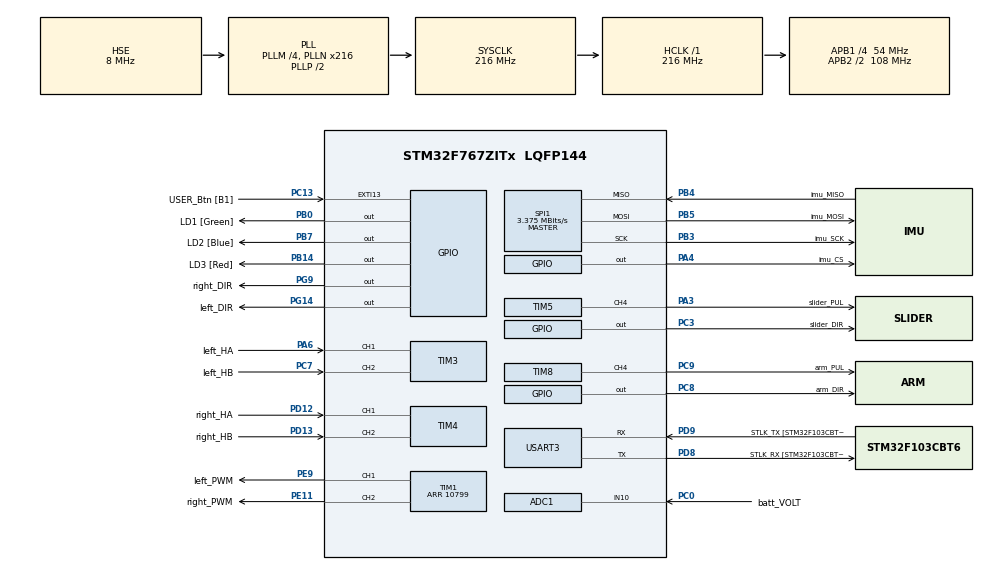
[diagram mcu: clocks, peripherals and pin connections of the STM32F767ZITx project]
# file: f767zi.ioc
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ADC1.Channel-0\#ChannelRegularConversion=ADC_CHANNEL_10
ADC1.ClockPrescaler=ADC_CLOCK_SYNC_PCLK_DIV8
ADC1.ContinuousConvMode=DISABLE
ADC1.NbrOfConversion=1
ADC1.NbrOfConversionFlag=1
ADC1.Rank-0\#ChannelRegularConversion=1
ADC1.SamplingTime-0\#ChannelRegularConversion=ADC_SAMPLETIME_480CYCLES
ADC1.master=1
IWDG.Prescaler=IWDG_PRESCALER_64
IWDG.Reload=999
Mcu.Family=STM32F7
Mcu.Name=STM32F767ZITx
Mcu.Package=LQFP144
NVIC.PriorityGroup=NVIC_PRIORITYGROUP_4
NVIC.TIM5_IRQn=true\:0\:0\:false\:false\:true\:true\:true\:true
NVIC.TIM8_UP_TIM13_IRQn=true\:0\:0\:false\:false\:true\:true\:true\:true
NVIC.USART3_IRQn=true\:0\:0\:false\:false\:true\:true\:true\:true
PA13.GPIO_Label=TMS
PA13.Mode=Serial_Wire
PA13.Signal=SYS_JTMS-SWDIO
PA14.GPIO_Label=TCK
PA14.Mode=Serial_Wire
PA14.Signal=SYS_JTCK-SWCLK
PA3.GPIO_Label=slider_PUL
PA3.GPIO_Speed=GPIO_SPEED_FREQ_VERY_HIGH
PA3.Signal=S_TIM5_CH4
PA4.GPIO_Label=imu_CS
PA4.GPIO_Speed=GPIO_SPEED_FREQ_HIGH
PA4.PinState=GPIO_PIN_SET
PA4.Signal=GPIO_Output
PA6.GPIO_Label=left_HA
PA6.GPIO_Speed=GPIO_SPEED_FREQ_LOW
PA6.Signal=S_TIM3_CH1
PB0.GPIO_Label=LD1 [Green]
PB0.Signal=GPIO_Output
PB14.GPIO_Label=LD3 [Red]
PB14.Signal=GPIO_Output
PB3.GPIO_Label=imu_SCK
PB3.Mode=Full_Duplex_Master
PB3.Signal=SPI1_SCK
PB4.GPIO_Label=imu_MISO
PB4.Mode=Full_Duplex_Master
PB4.Signal=SPI1_MISO
PB5.GPIO_Label=imu_MOSI
PB5.Mode=Full_Duplex_Master
PB5.Signal=SPI1_MOSI
PB7.GPIO_Label=LD2 [Blue]
PB7.Signal=GPIO_Output
PC0.GPIO_Label=batt_VOLT
PC0.Signal=ADCx_IN10
PC13.GPIO_Label=USER_Btn [B1]
PC13.Signal=GPXTI13
PC3.GPIO_Label=slider_DIR
PC3.Signal=GPIO_Output
PC7.GPIO_Label=left_HB
PC7.GPIO_Speed=GPIO_SPEED_FREQ_LOW
PC7.Signal=S_TIM3_CH2
PC8.GPIO_Label=arm_DIR
PC8.Signal=GPIO_Output
PC9.GPIO_Label=arm_PUL
PC9.GPIO_Speed=GPIO_SPEED_FREQ_VERY_HIGH
PC9.Signal=S_TIM8_CH4
PD12.GPIO_Label=right_HA
PD12.GPIO_Speed=GPIO_SPEED_FREQ_LOW
PD12.Signal=S_TIM4_CH1
PD13.GPIO_Label=right_HB
PD13.GPIO_Speed=GPIO_SPEED_FREQ_LOW
PD13.Signal=S_TIM4_CH2
PD8.GPIO_Label=STLK_RX [STM32F103CBT6_PA3]
PD8.Mode=Asynchronous
PD8.Signal=USART3_TX
PD9.GPIO_Label=STLK_TX [STM32F103CBT6_PA2]
PD9.Mode=Asynchronous
PD9.Signal=USART3_RX
PE11.GPIO_Label=right_PWM
PE11.GPIO_Speed=GPIO_SPEED_FREQ_VERY_HIGH
PE11.Signal=S_TIM1_CH2
PE9.GPIO_Label=left_PWM
PE9.GPIO_Speed=GPIO_SPEED_FREQ_VERY_HIGH
PE9.Signal=S_TIM1_CH1
PG14.GPIO_Label=left_DIR
PG14.Signal=GPIO_Output
PG9.GPIO_Label=right_DIR
PG9.Signal=GPIO_Output
PH0/OSC_IN.GPIO_Label=MCO [STM32F103CBT6_PA8]
PH0/OSC_IN.Mode=HSE-External-Clock-Source
PH0/OSC_IN.Signal=RCC_OSC_IN
PH1/OSC_OUT.Mode=HSE-External-Clock-Source
PH1/OSC_OUT.Signal=RCC_OSC_OUT
ProjectManager.HeapSize=0x200
ProjectManager.StackSize=0x400
ProjectManager.TargetToolchain=STM32CubeIDE
RCC.48MHZClocksFreq_Value=24000000
RCC.AHBFreq_Value=216000000
RCC.APB1CLKDivider=RCC_HCLK_DIV4
RCC.APB1Freq_Value=54000000
RCC.APB1TimFreq_Value=108000000
RCC.APB2CLKDivider=RCC_HCLK_DIV2
RCC.APB2Freq_Value=108000000
RCC.APB2TimFreq_Value=216000000
RCC.CortexFreq_Value=216000000
RCC.HCLKFreq_Value=216000000
RCC.HSE_VALUE=8000000
RCC.HSI_VALUE=16000000
RCC.LSE_VALUE=32768
RCC.PLLM=4
RCC.PLLMUL=RCC_PLL_MUL9
RCC.PLLN=216
RCC.PLLQ=4
RCC.PLLSourceVirtual=RCC_PLLSOURCE_HSE
RCC.PRESCALERUSB=RCC_USBCLKSOURCE_PLL_DIV1_5
RCC.SYSCLKFreq_VALUE=216000000
RCC.SYSCLKSource=RCC_SYSCLKSOURCE_PLLCLK
RCC.SYSCLKSourceVirtual=RCC_SYSCLKSOURCE_PLLCLK
RCC.USBFreq_Value=108000000
RCC.VCOOutputFreq_Value=432000000
SH.ADCx_IN10.0=ADC1_IN10,IN10
SH.S_TIM1_CH1.0=TIM1_CH1,PWM Generation1 CH1
SH.S_TIM1_CH2.0=TIM1_CH2,PWM Generation2 CH2
SH.S_TIM3_CH1.0=TIM3_CH1,Encoder_Interface
SH.S_TIM3_CH2.0=TIM3_CH2,Encoder_Interface
SH.S_TIM4_CH1.0=TIM4_CH1,Encoder_Interface
SH.S_TIM4_CH2.0=TIM4_CH2,Encoder_Interface
SH.S_TIM5_CH4.0=TIM5_CH4,PWM Generation4 CH4
SH.S_TIM8_CH4.0=TIM8_CH4,PWM Generation4 CH4
SPI1.BaudRatePrescaler=SPI_BAUDRATEPRESCALER_32
SPI1.CalculateBaudRate=3.375 MBits/s
SPI1.DataSize=SPI_DATASIZE_8BIT
SPI1.Direction=SPI_DIRECTION_2LINES
SPI1.Mode=SPI_MODE_MASTER
SPI1.VirtualType=VM_MASTER
TIM1.AutoReloadPreload=TIM_AUTORELOAD_PRELOAD_ENABLE
TIM1.Channel-PWM\ Generation1\ CH1=TIM_CHANNEL_1
TIM1.Channel-PWM\ Generation2\ CH2=TIM_CHANNEL_2
TIM1.Period=10799
TIM2.Prescaler=107
TIM3.EncoderMode=TIM_ENCODERMODE_TI12
TIM3.IC1Filter=4
TIM3.IC2Filter=4
TIM4.EncoderMode=TIM_ENCODERMODE_TI12
TIM4.IC1Filter=4
TIM4.IC2Filter=4
TIM5.AutoReloadPreload=TIM_AUTORELOAD_PRELOAD_ENABLE
TIM5.Channel-PWM\ Generation4\ CH4=TIM_CHANNEL_4
TIM5.Period=499
TIM5.Prescaler=107
TIM5.Pulse-PWM\ Generation4\ CH4=250
TIM8.AutoReloadPreload=TIM_AUTORELOAD_PRELOAD_ENABLE
TIM8.Channel-PWM\ Generation4\ CH4=TIM_CHANNEL_4
TIM8.Period=9999
TIM8.Prescaler=215
TIM8.Pulse-PWM\ Generation4\ CH4=5000
USART3.VirtualMode-Asynchronous=VM_ASYNC
VP_IWDG_VS_IWDG.Mode=IWDG_Activate
VP_TIM1_VS_ClockSourceINT.Mode=Internal
VP_TIM2_VS_ClockSourceINT.Mode=Internal
VP_TIM5_VS_ClockSourceINT.Mode=Internal
VP_TIM8_VS_ClockSourceINT.Mode=Internal
board=NUCLEO-F767ZI

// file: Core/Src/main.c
/* USER CODE BEGIN Header */
/**
  ******************************************************************************
  * @file           : main.c
  * @brief          : Main program body
  ******************************************************************************
  * @attention
  *
  * Copyright (c) 2026 STMicroelectronics.
  * All rights reserved.
  *
  * This software is licensed under terms that can be found in the LICENSE file
  * in the root directory of this software component.
  * If no LICENSE file comes with this software, it is provided AS-IS.
  *
  ******************************************************************************
  */
/* USER CODE END Header */
#include "main.h"
#include "adc.h"
#include "iwdg.h"
#include "spi.h"
#include "tim.h"
#include "usart.h"
#include "gpio.h"

/* USER CODE BEGIN Includes */
#include "config.h"
#include "motor.h"
#include "encoder.h"
#include "stepper.h"
#include "protocol.h"
#include "odometry.h"
#include "control.h"
#include "timebase.h"
#include "heartbeat.h"
#include "estop.h"
/* USER CODE END Includes */

void SystemClock_Config(void);

/* USER CODE BEGIN 0 */

static void App_UserButton_Update(uint32_t now_ms)
{
    /*
     * 버튼 눌림    : GPIO_PIN_SET
     * 버튼 안눌림 : GPIO_PIN_RESET
     */

    static uint8_t btn_prev = GPIO_PIN_RESET;
    static uint32_t btn_last_change_ms = 0U;

    uint8_t btn_now = HAL_GPIO_ReadPin(USER_Btn_GPIO_Port, USER_Btn_Pin);

    /*
     * 간단 debounce:
     * 마지막 상태 변화 후 30 ms 이내의 변화는 무시
     */
    if (btn_now != btn_prev)
    {
        if ((now_ms - btn_last_change_ms) < 30U)
        {
            return;
        }

        btn_last_change_ms = now_ms;

        if (btn_now == GPIO_PIN_SET)
        {
            /*
             * 버튼 press:
             * - 주행 정지
             * - heartbeat 정상이고 ESTOP 아닐 때만 slider 수동 후진 시작
             * - stepper busy이면 Stepper_SliderJogStart() 내부에서 거부
             */
            Control_Stop();

            if ((Heartbeat_IsTimeout() == 0U) && (EStop_IsActive() == 0U))
            {
                Stepper_SliderJogStart(-1);
            }
        }
        else
        {
            /*
             * 버튼 release:
             * - 수동 slider jog 즉시 정지
             * - release 시점을 slider index 0으로 간주
             */
            Stepper_SliderJogStop();
        }

        btn_prev = btn_now;
    }
}

static void App_LED_Update(void)
{
    if (EStop_IsActive() == 1U)
    {
        HAL_GPIO_WritePin(LD1_GPIO_Port, LD1_Pin, GPIO_PIN_SET);
        HAL_GPIO_WritePin(LD2_GPIO_Port, LD2_Pin, GPIO_PIN_SET);
        HAL_GPIO_WritePin(LD3_GPIO_Port, LD3_Pin, GPIO_PIN_SET);
        return;
    }

    /* LD1[Green] : stepper busy */
    HAL_GPIO_WritePin(
        LD1_GPIO_Port,
        LD1_Pin,
        (Stepper_IsBusy() == 1U) ? GPIO_PIN_SET : GPIO_PIN_RESET
    );

    /*
     * LD2[Blue] : heartbeat.c에서 관리
     * LD3[Red]  : IWDG reset 표시 또는 fault 표시
     */
}

/* USER CODE END 0 */

int main(void)
{

  /* MCU Configuration--------------------------------------------------------*/

  /* Reset of all peripherals, Initializes the Flash interface and the Systick. */
  HAL_Init();

  /* Configure the system clock */
  SystemClock_Config();

  /* Initialize all configured peripherals */
  MX_GPIO_Init();
  MX_USART3_UART_Init();
  MX_TIM1_Init();
  MX_ADC1_Init();
  MX_SPI1_Init();
  MX_TIM2_Init();
  MX_TIM3_Init();
  MX_TIM4_Init();
  MX_TIM5_Init();
  MX_TIM8_Init();
  MX_IWDG_Init();
  /* USER CODE BEGIN 2 */

  /* LD3[Red] : IWDG reset 후 재부팅 */
  if (__HAL_RCC_GET_FLAG(RCC_FLAG_IWDGRST) != RESET)
  {
      HAL_GPIO_WritePin(LD3_GPIO_Port, LD3_Pin, GPIO_PIN_SET);
  }
  __HAL_RCC_CLEAR_RESET_FLAGS();

  Motor_Init();
  Encoder_Init();
  Odometry_Init();
  Control_Init();
  Timebase_Init();
  Stepper_Init();
  Heartbeat_Init();
  EStop_Init();
  Protocol_Init();

  uint32_t init_ms = HAL_GetTick();
  uint32_t prev_10ms = init_ms;
  uint32_t prev_50ms = init_ms;
  uint32_t prev_iwdg_refresh_ms = init_ms;

  /* USER CODE END 2 */

  /* Infinite loop */
  /* USER CODE BEGIN WHILE */
  while (1)
  {
      uint32_t now = HAL_GetTick();

      Heartbeat_Update(now); // Timeout 확인
      Protocol_Process();   // UART 수신 명령 처리

      App_UserButton_Update(now); // slider manual jog button
      if (Stepper_GetAndClearDropoffDone() == 1U)
      {
          Protocol_SendDropoffDone();
      }
      Stepper_Update();
      App_LED_Update();

      /* 10 ms 주기 제어 */
      if ((now - prev_10ms) >= 10U)
      {
          prev_10ms += 10U;

          Encoder_Update();
          if (Stepper_IsBusy() == 0U)
        	  Control_Update();
          Odometry_Update();
      }

      if ((now - prev_50ms) >= 50U)
      {
          prev_50ms += 50U;

          Protocol_SendOdometry(
              Timebase_GetMicros(), // t_us
              Odometry_GetX(),
              Odometry_GetY(),
              Odometry_GetYaw(),
              Odometry_GetV(),
              Odometry_GetW()
          );
      }

      /*
       * IWDG_REFRESH_PERIOD_MS 마다 IWDG refresh
       */
      if ((now - prev_iwdg_refresh_ms) >= IWDG_REFRESH_PERIOD_MS)
      {
          HAL_IWDG_Refresh(&hiwdg);
          prev_iwdg_refresh_ms = now;
      }
    /* USER CODE END WHILE */

  }
}

void SystemClock_Config(void)
{
  RCC_OscInitTypeDef RCC_OscInitStruct = {0};
  RCC_ClkInitTypeDef RCC_ClkInitStruct = {0};

  /** Configure the main internal regulator output voltage
  */
  __HAL_RCC_PWR_CLK_ENABLE();
  __HAL_PWR_VOLTAGESCALING_CONFIG(PWR_REGULATOR_VOLTAGE_SCALE1);

  /** Initializes the RCC Oscillators according to the specified parameters
  * in the RCC_OscInitTypeDef structure.
  */
  RCC_OscInitStruct.OscillatorType = RCC_OSCILLATORTYPE_LSI|RCC_OSCILLATORTYPE_HSE;
  RCC_OscInitStruct.HSEState = RCC_HSE_BYPASS;
  RCC_OscInitStruct.LSIState = RCC_LSI_ON;
  RCC_OscInitStruct.PLL.PLLState = RCC_PLL_ON;
  RCC_OscInitStruct.PLL.PLLSource = RCC_PLLSOURCE_HSE;
  RCC_OscInitStruct.PLL.PLLM = 4;
  RCC_OscInitStruct.PLL.PLLN = 216;
  RCC_OscInitStruct.PLL.PLLP = RCC_PLLP_DIV2;
  RCC_OscInitStruct.PLL.PLLQ = 4;
  RCC_OscInitStruct.PLL.PLLR = 2;
  if (HAL_RCC_OscConfig(&RCC_OscInitStruct) != HAL_OK)
  {
    Error_Handler();
  }

  /** Activate the Over-Drive mode
  */
  if (HAL_PWREx_EnableOverDrive() != HAL_OK)
  {
    Error_Handler();
  }

  /** Initializes the CPU, AHB and APB buses clocks
  */
  RCC_ClkInitStruct.ClockType = RCC_CLOCKTYPE_HCLK|RCC_CLOCKTYPE_SYSCLK
                              |RCC_CLOCKTYPE_PCLK1|RCC_CLOCKTYPE_PCLK2;
  RCC_ClkInitStruct.SYSCLKSource = RCC_SYSCLKSOURCE_PLLCLK;
  RCC_ClkInitStruct.AHBCLKDivider = RCC_SYSCLK_DIV1;
  RCC_ClkInitStruct.APB1CLKDivider = RCC_HCLK_DIV4;
  RCC_ClkInitStruct.APB2CLKDivider = RCC_HCLK_DIV2;

  if (HAL_RCC_ClockConfig(&RCC_ClkInitStruct, FLASH_LATENCY_7) != HAL_OK)
  {
    Error_Handler();
  }
}

/* USER CODE BEGIN 4 */
void HAL_UART_RxCpltCallback(UART_HandleTypeDef *huart)
{
    Protocol_RxCallback(huart);
}

void HAL_TIM_PeriodElapsedCallback(TIM_HandleTypeDef *htim)
{
    Stepper_PeriodElapsedCallback(htim);
}
/* USER CODE END 4 */

void Error_Handler(void)
{
  __disable_irq();
  while (1)
  {
  }
}
